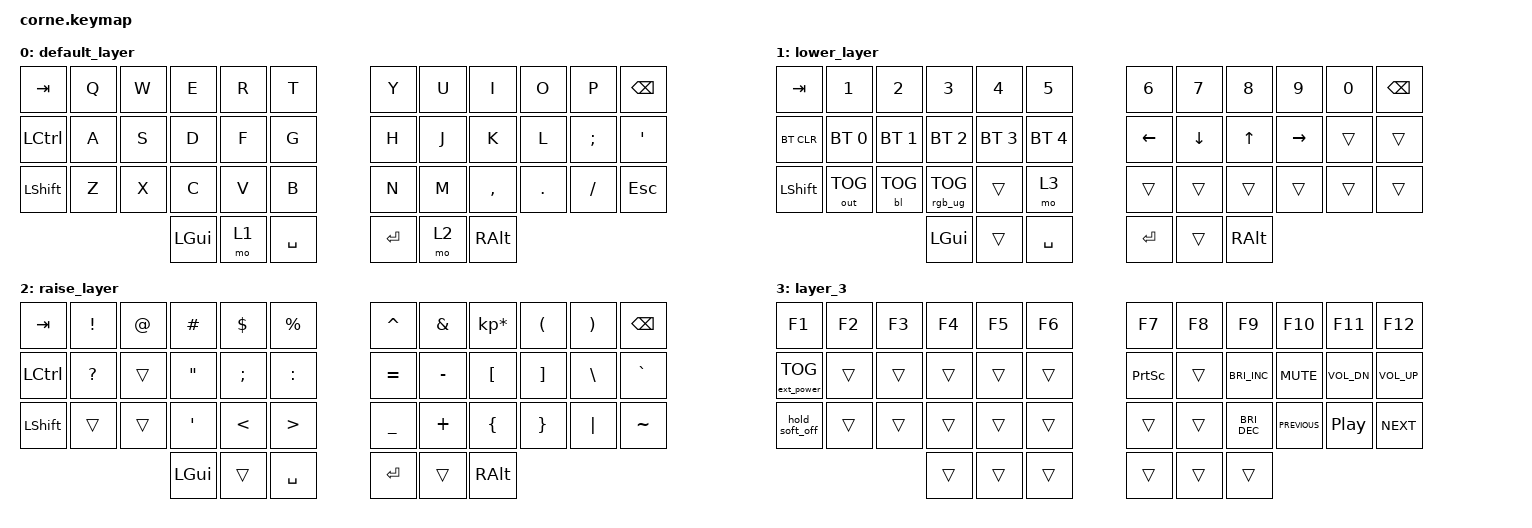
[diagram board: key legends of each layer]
/*
 * Copyright (c) 2020 The ZMK Contributors
 *
 * SPDX-License-Identifier: MIT
 */

#include <behaviors.dtsi>
#include <dt-bindings/zmk/backlight.h>
#include <dt-bindings/zmk/bt.h>
#include <dt-bindings/zmk/ext_power.h>
#include <dt-bindings/zmk/keys.h>
#include <dt-bindings/zmk/outputs.h>
#include <dt-bindings/zmk/rgb.h>

/ {
    behaviors {
        // Require the key to be held before powering the keyboard down. Soft
        // off can only be undone with the physical RESET button on both halves,
        // so a tap must never be enough to trigger it.
        //
        // &soft_off itself is already provided by behaviors.dtsi (including
        // split-peripheral-off-on-press); this is a separate, safer instance.
        //
        // NOTE: hold-time-ms is only honoured on the CENTRAL half — on a
        // peripheral, split-peripheral-off-on-press powers down immediately on
        // press and skips the hold check. On a Corne the LEFT half is central
        // (see the shield's Kconfig.defconfig), which is why this is bound on
        // the left. Moving it to the right half would make it a hair trigger.
        hold_soft_off: hold_soft_off {
            compatible = "zmk,behavior-soft-off";
            #binding-cells = <0>;
            split-peripheral-off-on-press;
            hold-time-ms = <2000>;
        };
    };

    keymap {
        compatible = "zmk,keymap";

        default_layer {
            // -----------------------------------------------------------------------------------------
            // |  TAB |  Q  |  W  |  E  |  R  |  T  |   |  Y  |  U   |  I  |  O  |  P  | BKSP |
            // | CTRL |  A  |  S  |  D  |  F  |  G  |   |  H  |  J   |  K  |  L  |  ;  |  '   |
            // | SHFT |  Z  |  X  |  C  |  V  |  B  |   |  N  |  M   |  ,  |  .  |  /  | ESC  |
            //                    | GUI | LWR | SPC |   | ENT | RSE  | ALT |

            bindings = <
&kp TAB    &kp Q  &kp W  &kp E     &kp R  &kp T        &kp Y    &kp U  &kp I      &kp O    &kp P     &kp BSPC
&kp LCTRL  &kp A  &kp S  &kp D     &kp F  &kp G        &kp H    &kp J  &kp K      &kp L    &kp SEMI  &kp SQT
&kp LSHFT  &kp Z  &kp X  &kp C     &kp V  &kp B        &kp N    &kp M  &kp COMMA  &kp DOT  &kp FSLH  &kp ESC
                         &kp LGUI  &mo 1  &kp SPACE    &kp RET  &mo 2  &kp RALT
            >;
        };

        lower_layer {
            // -----------------------------------------------------------------------------------------
            // |  TAB |  1  |  2  |  3  |  4  |  5  |   |  6  |  7  |  8  |  9  |  0  | BKSP |
            // | BTCLR| BT1 | BT2 | BT3 | BT4 | BT5 |   | LFT | DWN |  UP | RGT |     |      |
            // | SHFT |     |     |     |     |     |   |     |     |     |     |     |      |
            //                    | GUI |     | SPC |   | ENT |     | ALT |

            bindings = <
&kp TAB     &kp N1        &kp N2        &kp N3           &kp N4        &kp N5          &kp N6    &kp N7    &kp N8    &kp N9     &kp N0  &kp BSPC
&bt BT_CLR  &bt BT_SEL 0  &bt BT_SEL 1  &bt BT_SEL 2     &bt BT_SEL 3  &bt BT_SEL 4    &kp LEFT  &kp DOWN  &kp UP    &kp RIGHT  &trans  &trans
&kp LSHFT   &out OUT_TOG  &bl BL_TOG    &rgb_ug RGB_TOG  &trans        &mo 3           &trans    &trans    &trans    &trans     &trans  &trans
                                        &kp LGUI         &trans        &kp SPACE       &kp RET   &trans    &kp RALT
            >;
        };

        raise_layer {
            // -----------------------------------------------------------------------------------------
            // |  TAB |  !  |  @  |  #  |  $  |  %  |   |  ^  |  &  |  *  |  (  |  )  | BKSP |
            // | CTRL |     |     |     |     |     |   |  -  |  =  |  [  |  ]  |  \  |  `   |
            // | SHFT |     |     |     |     |     |   |  _  |  +  |  {  |  }  | "|" |  ~   |
            //                    | GUI |     | SPC |   | ENT |     | ALT |

            bindings = <
&kp TAB    &kp EXCL   &kp AT  &kp HASH           &kp DLLR       &kp PRCNT           &kp CARET  &kp AMPS   &kp KP_MULTIPLY  &kp LPAR  &kp RPAR  &kp BSPC
&kp LCTRL  &kp QMARK  &trans  &kp DOUBLE_QUOTES  &kp SEMI       &kp COLON           &kp EQUAL  &kp MINUS  &kp LBKT         &kp RBKT  &kp BSLH  &kp GRAVE
&kp LSHFT  &trans     &trans  &kp SINGLE_QUOTE   &kp LESS_THAN  &kp GREATER_THAN    &kp UNDER  &kp PLUS   &kp LBRC         &kp RBRC  &kp PIPE  &kp TILDE
                              &kp LGUI           &trans         &kp SPACE           &kp RET    &trans     &kp RALT
            >;
        };

        layer_3 {
            // -----------------------------------------------------------------------------------------
            // |  F1  |  F2 |  F3 |  F4 |  F5 |  F6 |   |  F7  |  F8 |  F9 | F10 | F11 | F12  |
            // | EXTPW|     |     |     |     |     |   | PSCRN|     | BRI+| MUTE| VOL-| VOL+ |
            // | SOFF |     |     |     |     |     |   |      |     | BRI-| PREV| PLAY| NEXT |
            //                    |     |     |     |   |      |     |     |
            //
            // Power controls live here, two layers deep (LWR -> L3), on the
            // outer edge of the left half:
            //   EXTPW = &ext_power EP_TOG — cut/restore VCC to the LED strip.
            //   SOFF  = &hold_soft_off    — hold 2s to power the keyboard off.
            //                               Wake it with the RESET button on
            //                               BOTH halves.

            bindings = <
&kp F1               &kp F2  &kp F3  &kp F4  &kp F5  &kp F6    &kp F7           &kp F8  &kp F9                &kp F10         &kp F11           &kp F12
&ext_power EP_TOG    &trans  &trans  &trans  &trans  &trans    &kp PRINTSCREEN  &trans  &kp C_BRIGHTNESS_INC  &kp C_MUTE      &kp C_VOL_DN      &kp C_VOLUME_UP
&hold_soft_off       &trans  &trans  &trans  &trans  &trans    &trans           &trans  &kp C_BRIGHTNESS_DEC  &kp C_PREVIOUS  &kp C_PLAY_PAUSE  &kp C_NEXT
                                     &trans  &trans  &trans    &trans           &trans  &trans
            >;
        };
    };
};
